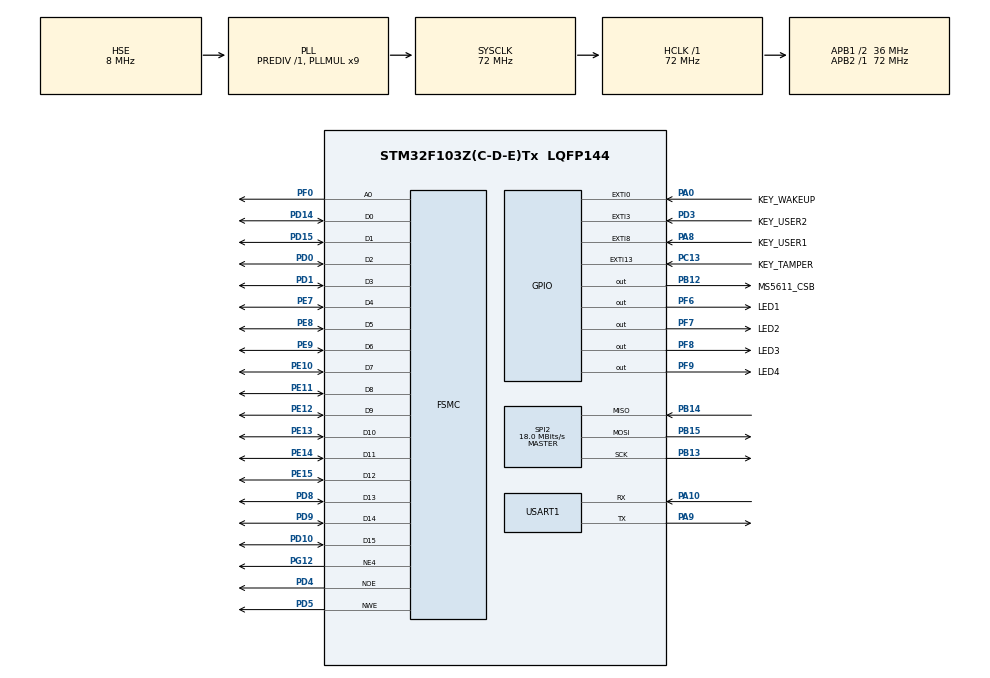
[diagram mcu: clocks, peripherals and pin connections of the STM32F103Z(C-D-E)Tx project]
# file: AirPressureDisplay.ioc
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FSMC.AccessMode1=FSMC_ACCESS_MODE_A
FSMC.AddressSetupTime1=4
FSMC.BusTurnAroundDuration1=0
FSMC.DataSetupTime1=12
FSMC.ExtendedAddressSetupTime1=3
FSMC.ExtendedBusTurnAroundDuration1=0
FSMC.ExtendedDataSetupTime1=3
FSMC.ExtendedMode1=FSMC_EXTENDED_MODE_ENABLE
Mcu.Family=STM32F1
Mcu.Name=STM32F103Z(C-D-E)Tx
Mcu.Package=LQFP144
NVIC.EXTI0_IRQn=true\:2\:0\:true\:false\:true\:true\:true\:true
NVIC.EXTI15_10_IRQn=true\:2\:0\:true\:false\:true\:true\:true\:true
NVIC.EXTI3_IRQn=true\:2\:0\:true\:false\:true\:true\:true\:true
NVIC.EXTI9_5_IRQn=true\:2\:0\:true\:false\:true\:true\:true\:true
NVIC.PriorityGroup=NVIC_PRIORITYGROUP_4
NVIC.USART1_IRQn=true\:0\:0\:false\:false\:true\:true\:true\:true
OSC_IN.Mode=HSE-External-Oscillator
OSC_IN.Signal=RCC_OSC_IN
OSC_OUT.Mode=HSE-External-Oscillator
OSC_OUT.Signal=RCC_OSC_OUT
PA0-WKUP.GPIO_Label=KEY_WAKEUP
PA0-WKUP.Signal=GPXTI0
PA10.Mode=Asynchronous
PA10.Signal=USART1_RX
PA8.GPIO_Label=KEY_USER1
PA8.Signal=GPXTI8
PA9.Mode=Asynchronous
PA9.Signal=USART1_TX
PB12.GPIO_Label=MS5611_CSB
PB12.PinState=GPIO_PIN_SET
PB12.Signal=GPIO_Output
PB13.Mode=Full_Duplex_Master
PB13.Signal=SPI2_SCK
PB14.Mode=Full_Duplex_Master
PB14.Signal=SPI2_MISO
PB15.Mode=Full_Duplex_Master
PB15.Signal=SPI2_MOSI
PC13-TAMPER-RTC.GPIO_Label=KEY_TAMPER
PC13-TAMPER-RTC.Signal=GPXTI13
PC14-OSC32_IN.Mode=LSE-External-Oscillator
PC14-OSC32_IN.Signal=RCC_OSC32_IN
PC15-OSC32_OUT.Mode=LSE-External-Oscillator
PC15-OSC32_OUT.Signal=RCC_OSC32_OUT
PD0.Signal=FSMC_D2_DA2
PD1.Signal=FSMC_D3_DA3
PD10.Signal=FSMC_D15_DA15
PD14.Signal=FSMC_D0_DA0
PD15.Signal=FSMC_D1_DA1
PD3.GPIO_Label=KEY_USER2
PD3.Signal=GPXTI3
PD4.Signal=FSMC_NOE
PD5.Signal=FSMC_NWE
PD8.Signal=FSMC_D13_DA13
PD9.Signal=FSMC_D14_DA14
PE10.Signal=FSMC_D7_DA7
PE11.Signal=FSMC_D8_DA8
PE12.Signal=FSMC_D9_DA9
PE13.Signal=FSMC_D10_DA10
PE14.Signal=FSMC_D11_DA11
PE15.Signal=FSMC_D12_DA12
PE7.Signal=FSMC_D4_DA4
PE8.Signal=FSMC_D5_DA5
PE9.Signal=FSMC_D6_DA6
PF0.Signal=FSMC_A0
PF6.GPIO_Label=LED1
PF6.PinState=GPIO_PIN_SET
PF6.Signal=GPIO_Output
PF7.GPIO_Label=LED2
PF7.PinState=GPIO_PIN_SET
PF7.Signal=GPIO_Output
PF8.GPIO_Label=LED3
PF8.PinState=GPIO_PIN_SET
PF8.Signal=GPIO_Output
PF9.GPIO_Label=LED4
PF9.PinState=GPIO_PIN_SET
PF9.Signal=GPIO_Output
PG12.Mode=NorPsramChipSelect4_1
PG12.Signal=FSMC_NE4
ProjectManager.HeapSize=0x200
ProjectManager.StackSize=0x400
ProjectManager.TargetToolchain=STM32CubeIDE
RCC.AHBFreq_Value=72000000
RCC.APB1CLKDivider=RCC_HCLK_DIV2
RCC.APB1Freq_Value=36000000
RCC.APB1TimFreq_Value=72000000
RCC.APB2Freq_Value=72000000
RCC.APB2TimFreq_Value=72000000
RCC.HCLKFreq_Value=72000000
RCC.PLLMUL=RCC_PLL_MUL9
RCC.PLLSourceVirtual=RCC_PLLSOURCE_HSE
RCC.RTCClockSelection=RCC_RTCCLKSOURCE_LSE
RCC.SYSCLKFreq_VALUE=72000000
RCC.SYSCLKSource=RCC_SYSCLKSOURCE_PLLCLK
RCC.USBFreq_Value=72000000
SH.FSMC_A0.0=FSMC_A0,A0_1
SH.FSMC_D0_DA0.0=FSMC_D0,16b-d1
SH.FSMC_D10_DA10.0=FSMC_D10,16b-d1
SH.FSMC_D11_DA11.0=FSMC_D11,16b-d1
SH.FSMC_D12_DA12.0=FSMC_D12,16b-d1
SH.FSMC_D13_DA13.0=FSMC_D13,16b-d1
SH.FSMC_D14_DA14.0=FSMC_D14,16b-d1
SH.FSMC_D15_DA15.0=FSMC_D15,16b-d1
SH.FSMC_D1_DA1.0=FSMC_D1,16b-d1
SH.FSMC_D2_DA2.0=FSMC_D2,16b-d1
SH.FSMC_D3_DA3.0=FSMC_D3,16b-d1
SH.FSMC_D4_DA4.0=FSMC_D4,16b-d1
SH.FSMC_D5_DA5.0=FSMC_D5,16b-d1
SH.FSMC_D6_DA6.0=FSMC_D6,16b-d1
SH.FSMC_D7_DA7.0=FSMC_D7,16b-d1
SH.FSMC_D8_DA8.0=FSMC_D8,16b-d1
SH.FSMC_D9_DA9.0=FSMC_D9,16b-d1
SH.FSMC_NOE.0=FSMC_NOE,Lcd1
SH.FSMC_NWE.0=FSMC_NWE,Lcd1
SPI2.BaudRatePrescaler=SPI_BAUDRATEPRESCALER_2
SPI2.CLKPolarity=SPI_POLARITY_LOW
SPI2.CalculateBaudRate=18.0 MBits/s
SPI2.Direction=SPI_DIRECTION_2LINES
SPI2.Mode=SPI_MODE_MASTER
SPI2.VirtualType=VM_MASTER
USART1.VirtualMode=VM_ASYNC
VP_SYS_VS_ND.Mode=No_Debug
board=custom

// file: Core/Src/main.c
/* USER CODE BEGIN Header */
/**
  ******************************************************************************
  * @file           : main.c
  * @brief          : Main program body
  ******************************************************************************
  * @attention
  *
  * Copyright (c) 2023 STMicroelectronics.
  * All rights reserved.
  *
  * This software is licensed under terms that can be found in the LICENSE file
  * in the root directory of this software component.
  * If no LICENSE file comes with this software, it is provided AS-IS.
  *
  ******************************************************************************
  */
/* USER CODE END Header */
#include "main.h"

/* USER CODE BEGIN Includes */
#include <stdio.h>
#include "MS5611.h"
#include "ili9325.h"
#include "ili9325_GUI.h"

/* USER CODE END Includes */

SPI_HandleTypeDef hspi2;

UART_HandleTypeDef huart1;

SRAM_HandleTypeDef hsram1;

void SystemClock_Config(void);
static void MX_GPIO_Init(void);
static void MX_FSMC_Init(void);
static void MX_SPI2_Init(void);
static void MX_USART1_UART_Init(void);

/* USER CODE BEGIN 0 */
#ifdef __GNUC__
    #define PUTCHAR_PROTOTYPE int __io_putchar(int ch)
#else
    #define PUTCHAR_PROTOTYPE int fputc(int ch, FILE *f)
#endif

PUTCHAR_PROTOTYPE
{
    HAL_UART_Transmit(&huart1,(uint8_t *)&ch,1,0xFFFF);
    return ch;
}
/* USER CODE END 0 */

int main(void)
{
  /* USER CODE BEGIN 1 */
  setbuf(stdout, NULL);
  /* USER CODE END 1 */

  /* MCU Configuration--------------------------------------------------------*/

  /* Reset of all peripherals, Initializes the Flash interface and the Systick. */
  HAL_Init();

  /* Configure the system clock */
  SystemClock_Config();

  /* Initialize all configured peripherals */
  MX_GPIO_Init();
  MX_FSMC_Init();
  MX_SPI2_Init();
  MX_USART1_UART_Init();
  /* USER CODE BEGIN 2 */

    MS5611_Init();
    ili9325_Init();
    HAL_Delay(20);

    printf("LCD ID: %X\n", ili9325_ReadID());
    ili9325_GUI_Draw(0, 0, 0);

    uint16_t Prom[8] = {};
    MS5611_ReadProm(Prom);
    printf("Prom data: ");
    for (uint8_t i = 0; i < 8; ++i)
    {
        printf("%X ", Prom[i]);
    }
    printf("\n");
  /* USER CODE END 2 */

  /* Infinite loop */
  /* USER CODE BEGIN WHILE */
    double Temp = 0, Press = 0, Asl = 0;
  while (1)
  {
      MS5611_GetResult(Prom, &Temp, &Press, &Asl);
      ili9325_GUI_Draw(Temp, Press, Asl);
      printf("Temp:%.2f°C, Pressure:%.3fkPa, ASL:%.3fm\n", Temp, Press, Asl);
    /* USER CODE END WHILE */

  }
}

void SystemClock_Config(void)
{
  RCC_OscInitTypeDef RCC_OscInitStruct = {0};
  RCC_ClkInitTypeDef RCC_ClkInitStruct = {0};

  /** Initializes the RCC Oscillators according to the specified parameters
  * in the RCC_OscInitTypeDef structure.
  */
  RCC_OscInitStruct.OscillatorType = RCC_OSCILLATORTYPE_HSE;
  RCC_OscInitStruct.HSEState = RCC_HSE_ON;
  RCC_OscInitStruct.HSEPredivValue = RCC_HSE_PREDIV_DIV1;
  RCC_OscInitStruct.HSIState = RCC_HSI_ON;
  RCC_OscInitStruct.PLL.PLLState = RCC_PLL_ON;
  RCC_OscInitStruct.PLL.PLLSource = RCC_PLLSOURCE_HSE;
  RCC_OscInitStruct.PLL.PLLMUL = RCC_PLL_MUL9;
  if (HAL_RCC_OscConfig(&RCC_OscInitStruct) != HAL_OK)
  {
    Error_Handler();
  }

  /** Initializes the CPU, AHB and APB buses clocks
  */
  RCC_ClkInitStruct.ClockType = RCC_CLOCKTYPE_HCLK|RCC_CLOCKTYPE_SYSCLK
                              |RCC_CLOCKTYPE_PCLK1|RCC_CLOCKTYPE_PCLK2;
  RCC_ClkInitStruct.SYSCLKSource = RCC_SYSCLKSOURCE_PLLCLK;
  RCC_ClkInitStruct.AHBCLKDivider = RCC_SYSCLK_DIV1;
  RCC_ClkInitStruct.APB1CLKDivider = RCC_HCLK_DIV2;
  RCC_ClkInitStruct.APB2CLKDivider = RCC_HCLK_DIV1;

  if (HAL_RCC_ClockConfig(&RCC_ClkInitStruct, FLASH_LATENCY_2) != HAL_OK)
  {
    Error_Handler();
  }
}

static void MX_SPI2_Init(void)
{

  /* SPI2 parameter configuration*/
  hspi2.Instance = SPI2;
  hspi2.Init.Mode = SPI_MODE_MASTER;
  hspi2.Init.Direction = SPI_DIRECTION_2LINES;
  hspi2.Init.DataSize = SPI_DATASIZE_8BIT;
  hspi2.Init.CLKPolarity = SPI_POLARITY_LOW;
  hspi2.Init.CLKPhase = SPI_PHASE_1EDGE;
  hspi2.Init.NSS = SPI_NSS_SOFT;
  hspi2.Init.BaudRatePrescaler = SPI_BAUDRATEPRESCALER_2;
  hspi2.Init.FirstBit = SPI_FIRSTBIT_MSB;
  hspi2.Init.TIMode = SPI_TIMODE_DISABLE;
  hspi2.Init.CRCCalculation = SPI_CRCCALCULATION_DISABLE;
  hspi2.Init.CRCPolynomial = 10;
  if (HAL_SPI_Init(&hspi2) != HAL_OK)
  {
    Error_Handler();
  }

}

static void MX_USART1_UART_Init(void)
{

  huart1.Instance = USART1;
  huart1.Init.BaudRate = 115200;
  huart1.Init.WordLength = UART_WORDLENGTH_8B;
  huart1.Init.StopBits = UART_STOPBITS_1;
  huart1.Init.Parity = UART_PARITY_NONE;
  huart1.Init.Mode = UART_MODE_TX_RX;
  huart1.Init.HwFlowCtl = UART_HWCONTROL_NONE;
  huart1.Init.OverSampling = UART_OVERSAMPLING_16;
  if (HAL_UART_Init(&huart1) != HAL_OK)
  {
    Error_Handler();
  }

}

static void MX_GPIO_Init(void)
{
  GPIO_InitTypeDef GPIO_InitStruct = {0};

  /* GPIO Ports Clock Enable */
  __HAL_RCC_GPIOC_CLK_ENABLE();
  __HAL_RCC_GPIOF_CLK_ENABLE();
  __HAL_RCC_GPIOA_CLK_ENABLE();
  __HAL_RCC_GPIOE_CLK_ENABLE();
  __HAL_RCC_GPIOB_CLK_ENABLE();
  __HAL_RCC_GPIOD_CLK_ENABLE();
  __HAL_RCC_GPIOG_CLK_ENABLE();

  /*Configure GPIO pin Output Level */
  HAL_GPIO_WritePin(GPIOF, LED1_Pin|LED2_Pin|LED3_Pin|LED4_Pin, GPIO_PIN_SET);

  /*Configure GPIO pin Output Level */
  HAL_GPIO_WritePin(MS5611_CSB_GPIO_Port, MS5611_CSB_Pin, GPIO_PIN_SET);

  /*Configure GPIO pin : KEY_TAMPER_Pin */
  GPIO_InitStruct.Pin = KEY_TAMPER_Pin;
  GPIO_InitStruct.Mode = GPIO_MODE_IT_RISING;
  GPIO_InitStruct.Pull = GPIO_NOPULL;
  HAL_GPIO_Init(KEY_TAMPER_GPIO_Port, &GPIO_InitStruct);

  /*Configure GPIO pins : LED1_Pin LED2_Pin LED3_Pin LED4_Pin */
  GPIO_InitStruct.Pin = LED1_Pin|LED2_Pin|LED3_Pin|LED4_Pin;
  GPIO_InitStruct.Mode = GPIO_MODE_OUTPUT_PP;
  GPIO_InitStruct.Pull = GPIO_NOPULL;
  GPIO_InitStruct.Speed = GPIO_SPEED_FREQ_LOW;
  HAL_GPIO_Init(GPIOF, &GPIO_InitStruct);

  /*Configure GPIO pins : KEY_WAKEUP_Pin KEY_USER1_Pin */
  GPIO_InitStruct.Pin = KEY_WAKEUP_Pin|KEY_USER1_Pin;
  GPIO_InitStruct.Mode = GPIO_MODE_IT_RISING;
  GPIO_InitStruct.Pull = GPIO_NOPULL;
  HAL_GPIO_Init(GPIOA, &GPIO_InitStruct);

  /*Configure GPIO pin : MS5611_CSB_Pin */
  GPIO_InitStruct.Pin = MS5611_CSB_Pin;
  GPIO_InitStruct.Mode = GPIO_MODE_OUTPUT_PP;
  GPIO_InitStruct.Pull = GPIO_NOPULL;
  GPIO_InitStruct.Speed = GPIO_SPEED_FREQ_LOW;
  HAL_GPIO_Init(MS5611_CSB_GPIO_Port, &GPIO_InitStruct);

  /*Configure GPIO pin : KEY_USER2_Pin */
  GPIO_InitStruct.Pin = KEY_USER2_Pin;
  GPIO_InitStruct.Mode = GPIO_MODE_IT_RISING;
  GPIO_InitStruct.Pull = GPIO_NOPULL;
  HAL_GPIO_Init(KEY_USER2_GPIO_Port, &GPIO_InitStruct);

  /* EXTI interrupt init*/
  HAL_NVIC_SetPriority(EXTI0_IRQn, 2, 0);
  HAL_NVIC_EnableIRQ(EXTI0_IRQn);

  HAL_NVIC_SetPriority(EXTI3_IRQn, 2, 0);
  HAL_NVIC_EnableIRQ(EXTI3_IRQn);

  HAL_NVIC_SetPriority(EXTI9_5_IRQn, 2, 0);
  HAL_NVIC_EnableIRQ(EXTI9_5_IRQn);

  HAL_NVIC_SetPriority(EXTI15_10_IRQn, 2, 0);
  HAL_NVIC_EnableIRQ(EXTI15_10_IRQn);

}

/* FSMC initialization function */
static void MX_FSMC_Init(void)
{

  FSMC_NORSRAM_TimingTypeDef Timing = {0};
  FSMC_NORSRAM_TimingTypeDef ExtTiming = {0};

  /** Perform the SRAM1 memory initialization sequence
  */
  hsram1.Instance = FSMC_NORSRAM_DEVICE;
  hsram1.Extended = FSMC_NORSRAM_EXTENDED_DEVICE;
  /* hsram1.Init */
  hsram1.Init.NSBank = FSMC_NORSRAM_BANK4;
  hsram1.Init.DataAddressMux = FSMC_DATA_ADDRESS_MUX_DISABLE;
  hsram1.Init.MemoryType = FSMC_MEMORY_TYPE_SRAM;
  hsram1.Init.MemoryDataWidth = FSMC_NORSRAM_MEM_BUS_WIDTH_16;
  hsram1.Init.BurstAccessMode = FSMC_BURST_ACCESS_MODE_DISABLE;
  hsram1.Init.WaitSignalPolarity = FSMC_WAIT_SIGNAL_POLARITY_LOW;
  hsram1.Init.WrapMode = FSMC_WRAP_MODE_DISABLE;
  hsram1.Init.WaitSignalActive = FSMC_WAIT_TIMING_BEFORE_WS;
  hsram1.Init.WriteOperation = FSMC_WRITE_OPERATION_ENABLE;
  hsram1.Init.WaitSignal = FSMC_WAIT_SIGNAL_DISABLE;
  hsram1.Init.ExtendedMode = FSMC_EXTENDED_MODE_ENABLE;
  hsram1.Init.AsynchronousWait = FSMC_ASYNCHRONOUS_WAIT_DISABLE;
  hsram1.Init.WriteBurst = FSMC_WRITE_BURST_DISABLE;
  /* Timing */
  Timing.AddressSetupTime = 4;
  Timing.AddressHoldTime = 15;
  Timing.DataSetupTime = 12;
  Timing.BusTurnAroundDuration = 0;
  Timing.CLKDivision = 16;
  Timing.DataLatency = 17;
  Timing.AccessMode = FSMC_ACCESS_MODE_A;
  /* ExtTiming */
  ExtTiming.AddressSetupTime = 3;
  ExtTiming.AddressHoldTime = 15;
  ExtTiming.DataSetupTime = 3;
  ExtTiming.BusTurnAroundDuration = 0;
  ExtTiming.CLKDivision = 16;
  ExtTiming.DataLatency = 17;
  ExtTiming.AccessMode = FSMC_ACCESS_MODE_A;

  if (HAL_SRAM_Init(&hsram1, &Timing, &ExtTiming) != HAL_OK)
  {
    Error_Handler( );
  }

  /** Disconnect NADV
  */

  __HAL_AFIO_FSMCNADV_DISCONNECTED();

}

/* USER CODE BEGIN 4 */
void HAL_GPIO_EXTI_Callback(uint16_t GPIO_Pin)
{
    if (GPIO_Pin == KEY_USER1_Pin)
    {
        HAL_Delay(10);
        if(HAL_GPIO_ReadPin(KEY_USER1_GPIO_Port, KEY_USER1_Pin) == GPIO_PIN_SET)
        {
            __HAL_GPIO_EXTI_CLEAR_IT(GPIO_Pin);
            ili9325_GUI_ChangeColor(ILI9325_GUI_BACK);
            printf("Key User1: Change Background Color!\n");
        }

    }
    else if (GPIO_Pin == KEY_USER2_Pin)
    {
        HAL_Delay(10);
        if(HAL_GPIO_ReadPin(KEY_USER2_GPIO_Port, KEY_USER2_Pin) == GPIO_PIN_SET)
        {
            __HAL_GPIO_EXTI_CLEAR_IT(GPIO_Pin);
            ili9325_GUI_ChangeColor(ILI9325_GUI_FORE);
            printf("Key User2: Change Foreground Color!\n");
        }
    }
    else if (GPIO_Pin == KEY_TAMPER_Pin)
    {
        HAL_Delay(10);
        if(HAL_GPIO_ReadPin(KEY_TAMPER_GPIO_Port, KEY_TAMPER_Pin) == GPIO_PIN_SET)
        {
            __HAL_GPIO_EXTI_CLEAR_IT(GPIO_Pin);
            ili9325_GUI_ChangeColor(ILI9325_GUI_FORE);
            ili9325_GUI_ChangeColor(ILI9325_GUI_BACK);
            printf("Key Tamper: Change Foreground and Background Color!\n");
        }
    }
    else if (GPIO_Pin == KEY_WAKEUP_Pin)
    {
        HAL_Delay(10);
        if(HAL_GPIO_ReadPin(KEY_WAKEUP_GPIO_Port, KEY_WAKEUP_Pin) == GPIO_PIN_SET)
        {
            __HAL_GPIO_EXTI_CLEAR_IT(GPIO_Pin);
            ili9325_GUI_Refresh();
            printf("Key Wakeup: Refresh!\n");
        }
    }
}
/* USER CODE END 4 */

void Error_Handler(void)
{
  __disable_irq();
  while (1)
  {
  }
}
